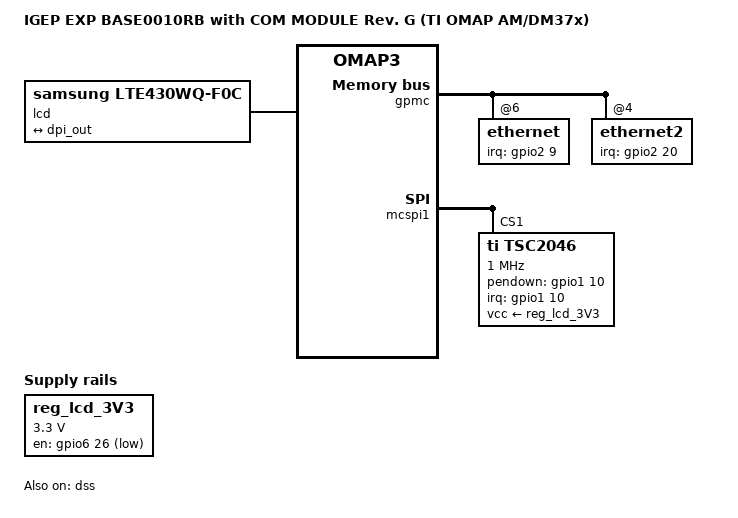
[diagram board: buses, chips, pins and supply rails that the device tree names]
/*
 * Device Tree Source for IGEP EXPANSION BASE0010RB with
 * COM MODULE Rev. G (TI OMAP AM/DM37x)
 *
 * Copyright (C) 2015 ISEE <isee.biz>
 *
 * This program is free software; you can redistribute it and/or modify
 * it under the terms of the GNU General Public License version 2 as
 * published by the Free Software Foundation.
 */

#include "omap3-igep0030-rev-g.dts"
#include "omap-gpmc-smsc9221.dtsi"

/ {
	model = "IGEP EXP BASE0010RB with COM MODULE Rev. G (TI OMAP AM/DM37x)";
	compatible = "isee,omap3-igep0030-rev-g-base0010", "isee,omap3-igep0030-rev-g", "ti,omap36xx", "ti,omap3";

   aliases {
		display0 = &lcd0;
	};

	reg_lcd_3V3: lcd_3V3 {
		compatible = "regulator-fixed";
		regulator-name = "lcd_3V3";
		regulator-min-microvolt = <3300000>;
		regulator-max-microvolt = <3300000>;
		gpio = <&gpio6 26 0>;    /*SYS_CLKOUT2.gpio_186*/
		startup-delay-us = <70000>;
		regulator-boot-on;
	};

   lcd0: display@0 {
        compatible = "samsung,lte430wq-f0c", "panel-dpi";
        label = "lcd";

        port {
            lcd_in: endpoint {
                    remote-endpoint = <&dpi_out>;
            };
        };

        panel-timing {
                clock-frequency = <33600000>;
                hactive = <800>;
                vactive = <480>;
                hfront-porch = <10>;
                hback-porch = <10>;
                hsync-len = <128>;

                vback-porch = <11>;
                vfront-porch = <4>;
                vsync-len = <2>;

                hsync-active = <1>;
                vsync-active = <1>;
                de-active = <1>;
                pixelclk-active = <1>;
        };
   };
};

&omap3_pmx_wkup {
	pinctrl-names = "default";

   tsc2048_pins: pinmux_tsc2048_pins {
		pinctrl-single,pins = <
			OMAP3_WKUP_IOPAD(0x2a1a, PIN_INPUT | MUX_MODE4)   /* sys_clkout1.gpio_10 */
		>;
	};
};

&omap3_pmx_core {
	dss_dpi_pins1: pinmux_dss_dpi_pins1 {
		pinctrl-single,pins = <
			0x0a4 (PIN_OUTPUT | MUX_MODE0)   /* dss_pclk.dss_pclk */
			0x0a6 (PIN_OUTPUT | MUX_MODE0)   /* dss_hsync.dss_hsync */
			0x0a8 (PIN_OUTPUT | MUX_MODE0)   /* dss_vsync.dss_vsync */
			0x0aa (PIN_OUTPUT | MUX_MODE0)   /* dss_acbias.dss_acbias */
			0x0ac (PIN_OUTPUT | MUX_MODE0)   /* dss_data0.dss_data0 */
			0x0ae (PIN_OUTPUT | MUX_MODE0)   /* dss_data1.dss_data1 */
			0x0b0 (PIN_OUTPUT | MUX_MODE0)   /* dss_data2.dss_data2 */
			0x0b2 (PIN_OUTPUT | MUX_MODE0)   /* dss_data3.dss_data3 */
			0x0b4 (PIN_OUTPUT | MUX_MODE0)   /* dss_data4.dss_data4 */
			0x0b6 (PIN_OUTPUT | MUX_MODE0)   /* dss_data5.dss_data5 */
			0x0b8 (PIN_OUTPUT | MUX_MODE0)   /* dss_data6.dss_data6 */
			0x0ba (PIN_OUTPUT | MUX_MODE0)   /* dss_data7.dss_data7 */
			0x0bc (PIN_OUTPUT | MUX_MODE0)   /* dss_data8.dss_data8 */
			0x0be (PIN_OUTPUT | MUX_MODE0)   /* dss_data9.dss_data9 */
			0x0c0 (PIN_OUTPUT | MUX_MODE0)   /* dss_data10.dss_data10 */
			0x0c2 (PIN_OUTPUT | MUX_MODE0)   /* dss_data11.dss_data11 */
			0x0c4 (PIN_OUTPUT | MUX_MODE0)   /* dss_data12.dss_data12 */
			0x0c6 (PIN_OUTPUT | MUX_MODE0)   /* dss_data13.dss_data13 */
			0x0c8 (PIN_OUTPUT | MUX_MODE0)   /* dss_data14.dss_data14 */
			0x0ca (PIN_OUTPUT | MUX_MODE0)   /* dss_data15.dss_data15 */
			0x0cc (PIN_OUTPUT | MUX_MODE0)   /* dss_data16.dss_data16 */
			0x0ce (PIN_OUTPUT | MUX_MODE0)   /* dss_data17.dss_data17 */
			0x0d0 (PIN_OUTPUT | MUX_MODE0)   /* dss_data18.dss_data18 */
			0x0d2 (PIN_OUTPUT | MUX_MODE0)   /* dss_data19.dss_data19 */
			0x0d4 (PIN_OUTPUT | MUX_MODE0)   /* dss_data20.dss_data20 */
			0x0d6 (PIN_OUTPUT | MUX_MODE0)   /* dss_data21.dss_data21 */
			0x0d8 (PIN_OUTPUT | MUX_MODE0)   /* dss_data22.dss_data22 */
			0x0da (PIN_OUTPUT | MUX_MODE0)   /* dss_data23.dss_data23 */
		>;
	};

   smsc9221_ETH1_pins: pinmux_smsc9221_ETH1_pins {
		pinctrl-single,pins = <
			0x08a (PIN_OUTPUT | MUX_MODE0)		/* gpmc_ncs6.gpmc_ncs6 */
			0x058 (PIN_INPUT | MUX_MODE4)	      /* gpmc_a8.gpio_41 */
		>;
	};

   smsc9221_ETH2_pins: pinmux_smsc9221_ETH2_pins {
		pinctrl-single,pins = <
			0x086 (PIN_OUTPUT | MUX_MODE0)		/* gpmc_ncs4.gpmc_ncs4 */
			0x080 (PIN_INPUT | MUX_MODE4)		   /* gpmc_ncs1.gpio_52 */
		>;
	};

	spi1_pins: pinmux_spi1_pins {
		pinctrl-single,pins = <
			OMAP3_CORE1_IOPAD(0x21c8, PIN_INPUT_PULLDOWN | MUX_MODE0)   /* mcspi1_clk.mcspi1_clk */
			OMAP3_CORE1_IOPAD(0x21ca, PIN_INPUT_PULLDOWN | MUX_MODE0)   /* mcspi1_simo.mcspi1_simo */
			OMAP3_CORE1_IOPAD(0x21cc, PIN_INPUT_PULLDOWN | MUX_MODE0)   /* mcspi1_somi.mcspi1_somi */
			OMAP3_CORE1_IOPAD(0x21d0, PIN_OUTPUT | MUX_MODE0)   /* mcspi1_cs1.mcspi1_cs1 */
         OMAP3_CORE1_IOPAD(0x2138, PIN_INPUT | MUX_MODE4)   /* gpio_114.gpio_114 */
		>;
   };
};

&gpmc {
	ranges = <0 0 0x00000000 0x20000000>,
         <6 0 0x2d000000 0x01000000>,
		   <4 0 0x2b000000 0x01000000>;

   ethernet@gpmc {
      pinctrl-names = "default";
		pinctrl-0 = <&smsc9221_ETH1_pins>;
      reg = <6 0 0xff>;
		interrupt-parent = <&gpio2>;
      interrupts = <9 IRQ_TYPE_LEVEL_LOW>;
	};

   ethernet2@gpmc {
		pinctrl-names = "default";
		pinctrl-0 = <&smsc9221_ETH2_pins>;
      reg = <4 0 0xff>;
		interrupt-parent = <&gpio2>;
      interrupts = <20 IRQ_TYPE_LEVEL_LOW>;
	};
};

&mcspi1 {
	status = "okay";
	pinctrl-names = "default";
	pinctrl-0 = <&spi1_pins>;

	tsc2046@0 {
		reg = <1>;   /* CS1 */
		compatible = "ti,tsc2046";
		interrupt-parent = <&gpio1>;
		interrupts = <10 0>;   /* sys_clkout1.gpio_10 */
		spi-max-frequency = <1000000>;
		pendown-gpio = <&gpio1 10 0>;  /* sys_clkout1.gpio_10 */
		vcc-supply = <&reg_lcd_3V3>;
		pinctrl-names = "default";
		pinctrl-0 = <&tsc2048_pins>;
		ti,x-min = <138>;
		ti,x-max = <3923>;
		ti,y-min = <311>;
		ti,y-max = <3962>;
		ti,x-plate-ohms = <180>;
		ti,pressure-max = <255>;
      ti,debounce-max = <10>;
      ti,debounce-tol = <3>;
      ti,debounce-rep = <1>;
		linux,wakeup;
	};
};

&vpll2 {
	regulator-always-on;
};

&dss {
	status = "ok";

	pinctrl-names = "default";
		pinctrl-0 = <
		&dss_dpi_pins1
	>;

	port {
		dpi_out: endpoint {
			remote-endpoint = <&lcd_in>;
			data-lines = <24>;
		};
	};
};
